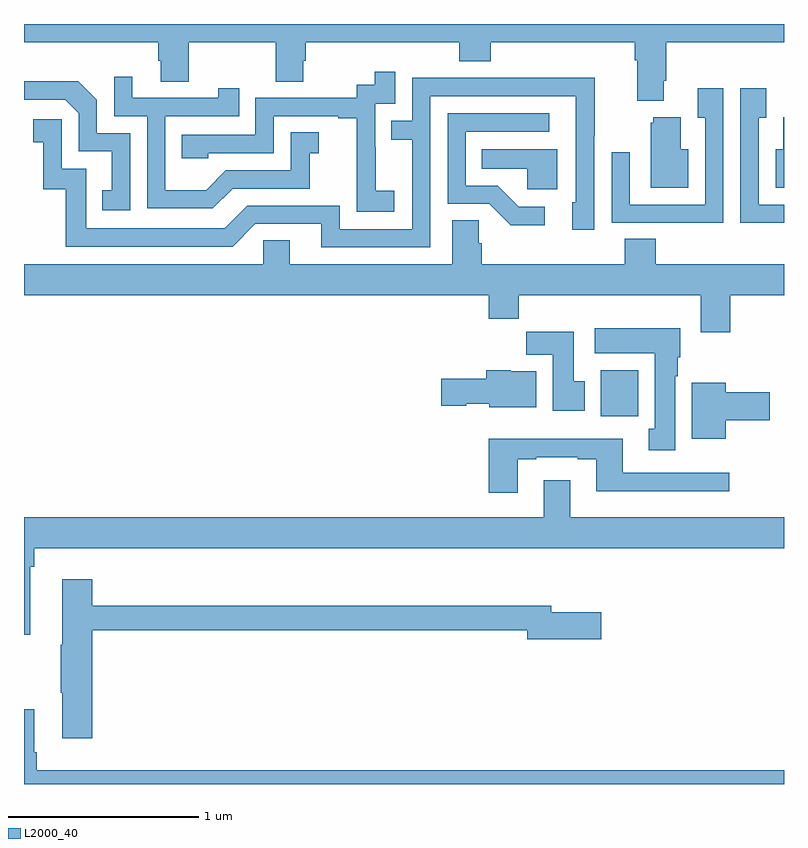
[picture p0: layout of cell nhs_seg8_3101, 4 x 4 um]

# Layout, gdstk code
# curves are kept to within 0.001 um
import gdstk
lib = gdstk.Library(unit=1e-6, precision=1e-09)
def R(c, l, rs):  # rectangles x0, y0, x1, y1
    for r in rs: c.add(gdstk.rectangle(r[:2], r[2:], *l))
def P(c, l, *ps):  # polygons
    for p in ps: c.add(gdstk.Polygon(p, *l))
L2000_40 = (2000, 40)

nhs_seg8_3101 = lib.new_cell('nhs_seg8_3101')
R(nhs_seg8_3101, L2000_40, [(306.035,1143.836,306.232,1144.078)])
P(nhs_seg8_3101, L2000_40, [(306.367,1145.602),(306.38,1145.602),(306.38,1145.804),(307,1145.804),(307,1145.9),(303,1145.9),(303,1145.804),(303.707,1145.804),(303.707,1145.706),(303.719,1145.706),(303.719,1145.596),(303.867,1145.596),(303.867,1145.804),(304.324,1145.804),(304.324,1145.596),(304.471,1145.596),(304.471,1145.706),(304.484,1145.706),(304.484,1145.804),(305.291,1145.804),(305.291,1145.705),(305.456,1145.705),(305.456,1145.804),(306.215,1145.804),(306.215,1145.708),(306.227,1145.708),(306.227,1145.495),(306.367,1145.495)],
  [(304.948,1145.023),(304.85,1145.023),(304.85,1145.252),(304.848,1145.252),(304.848,1145.481),(304.953,1145.481),(304.953,1145.65),(304.845,1145.65),(304.845,1145.58),(304.752,1145.58),(304.752,1145.511),(304.218,1145.511),(304.218,1145.316),(303.829,1145.316),(303.829,1145.193),(303.969,1145.193),(303.969,1145.22),(304.314,1145.22),(304.314,1145.415),(304.655,1145.415),(304.655,1145.403),(304.751,1145.403),(304.751,1145.119),(304.75,1145.119),(304.75,1144.913),(304.948,1144.913)],
  [(304.099,1145.034),(304.503,1145.034),(304.503,1145.219),(304.552,1145.219),(304.552,1145.329),(304.404,1145.329),(304.404,1145.13),(304.062,1145.13),(303.958,1145.026),(303.744,1145.026),(303.744,1145.415),(304.133,1145.415),(304.133,1145.563),(304.022,1145.563),(304.022,1145.511),(303.571,1145.511),(303.571,1145.623),(303.474,1145.623),(303.474,1145.415),(303.648,1145.415),(303.648,1144.929),(303.994,1144.929)],
  [(305.139,1145.52),(305.903,1145.52),(305.904,1144.962),(305.885,1144.962),(305.885,1144.818),(306,1144.818),(306,1145.311),(306.003,1145.311),(306.003,1145.618),(305.539,1145.618),(305.539,1145.616),(305.043,1145.616),(305.043,1145.391),(304.933,1145.391),(304.933,1145.29),(305.043,1145.29),(305.043,1144.821),(304.662,1144.821),(304.662,1144.944),(304.176,1144.944),(304.056,1144.824),(303.327,1144.824),(303.327,1145.139),(303.198,1145.139),(303.198,1145.398),(303.048,1145.398),(303.048,1145.277),(303.101,1145.277),(303.101,1145.031),(303.219,1145.031),(303.219,1144.728),(304.098,1144.728),(304.218,1144.848),(304.565,1144.848),(304.565,1144.725),(305.139,1144.725)],
  [(303.558,1145.325),(303.384,1145.325),(303.384,1145.502),(303.286,1145.6),(303,1145.6),(303,1145.502),(303.216,1145.502),(303.288,1145.43),(303.288,1145.229),(303.461,1145.229),(303.461,1145.025),(303.412,1145.025),(303.412,1144.92),(303.558,1144.92)],
  [(307,1144.95),(306.867,1144.95),(306.867,1145.407),(306.907,1145.407),(306.907,1145.563),(306.771,1145.563),(306.771,1144.853),(307,1144.853)],
  [(306.681,1145.563),(306.545,1145.563),(306.545,1145.407),(306.585,1145.407),(306.585,1144.95),(306.189,1144.95),(306.189,1145.224),(306.093,1145.224),(306.093,1144.854),(306.409,1144.854),(306.409,1144.853),(306.681,1144.853)],
  [(305.74,1144.938),(305.605,1144.938),(305.494,1145.049),(305.325,1145.049),(305.325,1145.334),(305.764,1145.334),(305.764,1145.43),(305.229,1145.43),(305.229,1144.953),(305.448,1144.953),(305.561,1144.841),(305.74,1144.841)],
  [(306.496,1145.242),(306.457,1145.242),(306.457,1145.41),(306.311,1145.41),(306.311,1145.379),(306.299,1145.379),(306.299,1145.039),(306.496,1145.039)],
  [(307,1145.41),(306.995,1145.41),(306.995,1145.242),(306.956,1145.242),(306.956,1145.039),(307,1145.039)],
  [(305.806,1145.242),(305.41,1145.242),(305.41,1145.138),(305.649,1145.138),(305.649,1145.03),(305.806,1145.03)],
  [(306.716,1144.472),(307,1144.472),(307,1144.636),(306.326,1144.636),(306.326,1144.769),(306.161,1144.769),(306.161,1144.636),(305.408,1144.636),(305.408,1144.745),(305.394,1144.745),(305.394,1144.868),(305.255,1144.868),(305.255,1144.636),(304.399,1144.636),(304.399,1144.763),(304.26,1144.763),(304.26,1144.636),(303,1144.636),(303,1144.472),(305.447,1144.472),(305.447,1144.348),(305.603,1144.348),(305.603,1144.472),(306.563,1144.472),(306.563,1144.278),(306.716,1144.278)],
  [(306.427,1144.046),(306.442,1144.046),(306.442,1144.146),(306.454,1144.146),(306.454,1144.3),(306.003,1144.3),(306.003,1144.166),(306.32,1144.166),(306.32,1143.77),(306.287,1143.77),(306.287,1143.657),(306.427,1143.657)],
  [(305.95,1144.02),(305.893,1144.02),(305.893,1144.279),(305.644,1144.279),(305.644,1144.16),(305.783,1144.16),(305.783,1143.864),(305.95,1143.864)],
  [(305.695,1144.072),(305.562,1144.072),(305.562,1144.078),(305.432,1144.078),(305.432,1144.032),(305.196,1144.032),(305.196,1143.89),(305.328,1143.89),(305.328,1143.902),(305.448,1143.902),(305.448,1143.884),(305.695,1143.884)],
  [(306.694,1143.815),(306.925,1143.815),(306.925,1143.962),(306.694,1143.962),(306.694,1144.012),(306.515,1144.012),(306.515,1143.716),(306.694,1143.716)],
  [(305.599,1143.609),(305.695,1143.609),(305.695,1143.621),(305.915,1143.621),(305.915,1143.609),(306.011,1143.609),(306.011,1143.44),(306.712,1143.44),(306.712,1143.537),(306.151,1143.537),(306.151,1143.718),(305.447,1143.718),(305.447,1143.432),(305.599,1143.432)],
  [(303.034,1143.044),(303.053,1143.044),(303.053,1143.14),(307,1143.14),(307,1143.304),(305.875,1143.304),(305.875,1143.499),(305.735,1143.499),(305.735,1143.304),(303,1143.304),(303,1142.685),(303.034,1142.685)],
  [(303.359,1142.71),(305.648,1142.71),(305.648,1142.663),(306.037,1142.663),(306.037,1142.805),(305.776,1142.805),(305.776,1142.839),(303.359,1142.839),(303.359,1142.977),(303.2,1142.977),(303.2,1142.633),(303.193,1142.633),(303.193,1142.38),(303.2,1142.38),(303.2,1142.142),(303.359,1142.142)],
  [(307,1141.972),(303.068,1141.972),(303.068,1142.068),(303.055,1142.068),(303.055,1142.293),(303,1142.293),(303,1141.9),(307,1141.9)])

lib.write_gds('nhs_seg8_3101.gds')
